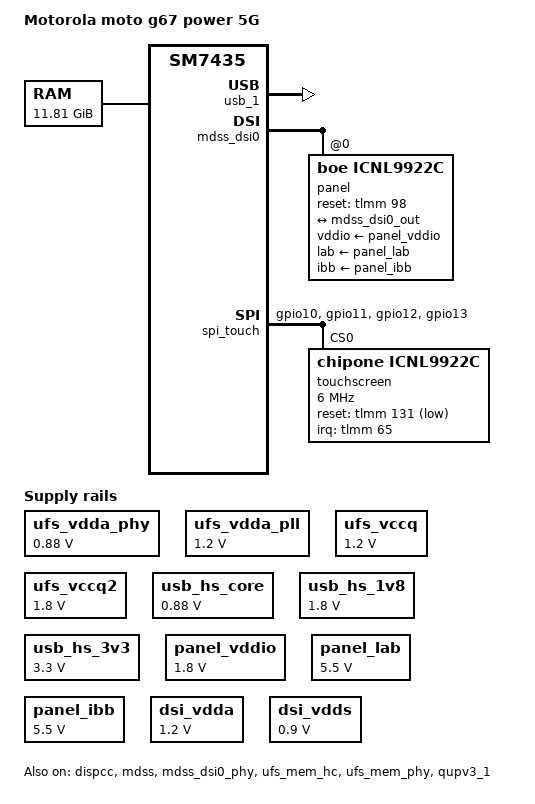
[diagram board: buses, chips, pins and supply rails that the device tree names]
// SPDX-License-Identifier: BSD-3-Clause
/*
 * Copyright (c) 2026 portov mainline contributors
 */

/dts-v1/;

#include "sm7435.dtsi"

#include <dt-bindings/gpio/gpio.h>

/ {
	model = "Motorola moto g67 power 5G";
	compatible = "motorola,portov", "qcom,sm7435";

	aliases {
		serial0 = &uart3;
		spi1 = &spi_touch;
	};

	chosen {
		bootargs = "console=ttyGS0,115200n8 ignore_loglevel printk.time=1";
		#address-cells = <2>;
		#size-cells = <2>;

		/*
		 * The firmware reserves a continuous-splash framebuffer and the
		 * panel keeps scanning out of it, so it can double as a console.
		 * Same values as diagnostics/portov-console-fixup.dtsi, but
		 * expressed here because this tree is used directly rather than
		 * as the base for that fixup.  Diagnostic-only: not upstreamable.
		 */
		framebuffer@b8000000 {
			compatible = "simple-framebuffer";
			reg = <0x00 0xb8000000 0x00 0x9e3400>;
			width = <1080>;
			height = <2400>;
			stride = <4320>;
			format = "x8r8g8b8";
		};
	};

	/* Bring-up: model the measured firmware-enabled rails, no PMIC writes. */
	ufs_vdda_phy: regulator-ufs-vdda-phy {
		compatible = "regulator-fixed";
		regulator-name = "ufs_vdda_phy";
		regulator-min-microvolt = <880000>;
		regulator-max-microvolt = <880000>;
		regulator-always-on;
	};
	ufs_vdda_pll: regulator-ufs-vdda-pll {
		compatible = "regulator-fixed";
		regulator-name = "ufs_vdda_pll";
		regulator-min-microvolt = <1200000>;
		regulator-max-microvolt = <1200000>;
		regulator-always-on;
	};
	ufs_vccq: regulator-ufs-vccq {
		compatible = "regulator-fixed";
		regulator-name = "ufs_vccq";
		regulator-min-microvolt = <1200000>;
		regulator-max-microvolt = <1200000>;
		regulator-always-on;
	};
	ufs_vccq2: regulator-ufs-vccq2 {
		compatible = "regulator-fixed";
		regulator-name = "ufs_vccq2";
		regulator-min-microvolt = <1800000>;
		regulator-max-microvolt = <1800000>;
		regulator-always-on;
	};

	usb_hs_core: regulator-usb-hs-core {
		compatible = "regulator-fixed";
		regulator-name = "usb_hs_core";
		regulator-min-microvolt = <880000>;
		regulator-max-microvolt = <880000>;
		regulator-always-on;
	};

	usb_hs_1v8: regulator-usb-hs-1v8 {
		compatible = "regulator-fixed";
		regulator-name = "usb_hs_1v8";
		regulator-min-microvolt = <1800000>;
		regulator-max-microvolt = <1800000>;
		regulator-always-on;
	};

	usb_hs_3v3: regulator-usb-hs-3v3 {
		compatible = "regulator-fixed";
		regulator-name = "usb_hs_3v3";
		regulator-min-microvolt = <3300000>;
		regulator-max-microvolt = <3300000>;
		regulator-always-on;
	};

	panel_vddio: regulator-panel-vddio {
		compatible = "regulator-fixed";
		regulator-name = "panel_vddio";
		regulator-min-microvolt = <1800000>;
		regulator-max-microvolt = <1800000>;
		regulator-always-on;
		regulator-boot-on;
	};

	panel_lab: regulator-panel-lab {
		compatible = "regulator-fixed";
		regulator-name = "panel_lab";
		regulator-min-microvolt = <5500000>;
		regulator-max-microvolt = <5500000>;
		regulator-always-on;
		regulator-boot-on;
	};

	panel_ibb: regulator-panel-ibb {
		compatible = "regulator-fixed";
		regulator-name = "panel_ibb";
		regulator-min-microvolt = <5500000>;
		regulator-max-microvolt = <5500000>;
		regulator-always-on;
		regulator-boot-on;
	};

	dsi_vdda: regulator-dsi-vdda {
		compatible = "regulator-fixed";
		regulator-name = "dsi_vdda";
		regulator-min-microvolt = <1200000>;
		regulator-max-microvolt = <1200000>;
		regulator-always-on;
		regulator-boot-on;
	};

	dsi_vdds: regulator-dsi-vdds {
		compatible = "regulator-fixed";
		regulator-name = "dsi_vdds";
		regulator-min-microvolt = <900000>;
		regulator-max-microvolt = <900000>;
		regulator-always-on;
		regulator-boot-on;
	};

	memory@80000000 {
		device_type = "memory";
		reg = <0x0 0x80000000 0x0 0x68e00000>,
		      <0x0 0xf0900000 0x0 0x0f700000>,
		      <0x8 0x00000000 0x0 0x3f8fe000>,
		      <0x8 0x40000000 0x0 0x7a300000>,
		      <0x8 0xba500000 0x0 0x01e00000>,
		      <0x8 0xc0000000 0x0 0x40000000>,
		      <0x9 0x00000000 0x1 0x80000000>;
	};
};

&reserved_memory {
	/*
	 * Match the official portov continuous-splash carveout. Keep it in
	 * the linear map: portovfb writes through phys_to_virt(), but these
	 * pages must never be handed to the general-purpose allocator.
	 */
	splash_mem: framebuffer@b8000000 {
		reg = <0x0 0xb8000000 0x0 0x02b00000>;
	};

	smem_mem: smem@80900000 {
		reg = <0x0 0x80900000 0x0 0x200000>;
		no-map;
	};

	ramoops@ae000000 {
		compatible = "ramoops";
		reg = <0x0 0xae000000 0x0 0x60000>;
		record-size = <0x20000>;
		console-size = <0x40000>;
		no-map;
	};
};

/*
 * uart3 stays disabled: it is described as a bare `qcom,geni-debug-uart`
 * without a `geni-se-qup` wrapper parent, and mainline's geni-se glue needs
 * that parent - geni_se_clks_on() dereferences se->wrapper, which is NULL
 * here, so enabling it oopses the kernel (data abort at
 * geni_se_clks_on+0x1c).  The console paths used by the diagnostic payloads
 * are portovfb and the USB ACM gadget, so nothing needs this node; a real
 * UART needs the QUP wrapper description plus the GCC SE clocks.
 */
&uart3 {
	status = "disabled";
};

&usb_1 {
	status = "okay";
};

&dispcc {
	status = "okay";
};

&mdss {
	status = "okay";
};

&mdss_dsi0 {
	vdda-supply = <&dsi_vdda>;
	status = "okay";

	panel@0 {
		compatible = "boe,icnl9922c";
		reg = <0>;
		reset-gpios = <&tlmm 98 GPIO_ACTIVE_HIGH>;
		vddio-supply = <&panel_vddio>;
		lab-supply = <&panel_lab>;
		ibb-supply = <&panel_ibb>;

		port {
			panel0_in: endpoint {
				remote-endpoint = <&mdss_dsi0_out>;
			};
		};
	};
};

&mdss_dsi0_out {
	remote-endpoint = <&panel0_in>;
	data-lanes = <0 1 2 3>;
};

&mdss_dsi0_phy {
	vdds-supply = <&dsi_vdds>;
	status = "okay";
};

&ufs_mem_hc {
	/* VCC is a firmware-enabled switch; leave it unmanaged for bring-up. */
	vccq-supply = <&ufs_vccq>;
	vccq2-supply = <&ufs_vccq2>;
	vccq-max-microamp = <1200000>;
	vccq2-max-microamp = <750000>;
	reset-gpios = <&tlmm 141 GPIO_ACTIVE_LOW>;
	status = "okay";
};

&ufs_mem_phy {
	vdda-phy-supply = <&ufs_vdda_phy>;
	vdda-pll-supply = <&ufs_vdda_pll>;
	status = "okay";
};

&qupv3_1 {
	status = "okay";
};

&tlmm {
	touch_spi_pins: touch-spi-state {
		data0 { pins = "gpio10"; function = "qup1_se3_l0"; drive-strength = <6>; bias-disable; };
		data1 { pins = "gpio11"; function = "qup1_se3_l1"; drive-strength = <6>; bias-disable; };
		clock { pins = "gpio12"; function = "qup1_se3_l2"; drive-strength = <6>; bias-disable; };
		cs { pins = "gpio13"; function = "qup1_se3_l3"; drive-strength = <6>; bias-disable; };
	};
	touch_irq_pins: touch-irq-state {
		pins = "gpio65";
		function = "gpio";
		drive-strength = <8>;
		bias-pull-up;
	};
};

&spi_touch {
	pinctrl-names = "default";
	pinctrl-0 = <&touch_spi_pins>;
	status = "okay";

	touchscreen@0 {
		compatible = "chipone,icnl9922c";
		firmware-name = "boe_chipone_firmware.bin";
		reg = <0>;
		spi-max-frequency = <6000000>;
		interrupt-parent = <&tlmm>;
		interrupts = <65 IRQ_TYPE_EDGE_FALLING>;
		reset-gpios = <&tlmm 131 GPIO_ACTIVE_LOW>;
		pinctrl-names = "default";
		pinctrl-0 = <&touch_irq_pins>;
		touchscreen-size-x = <4320>;
		touchscreen-size-y = <9600>;
	};
};
